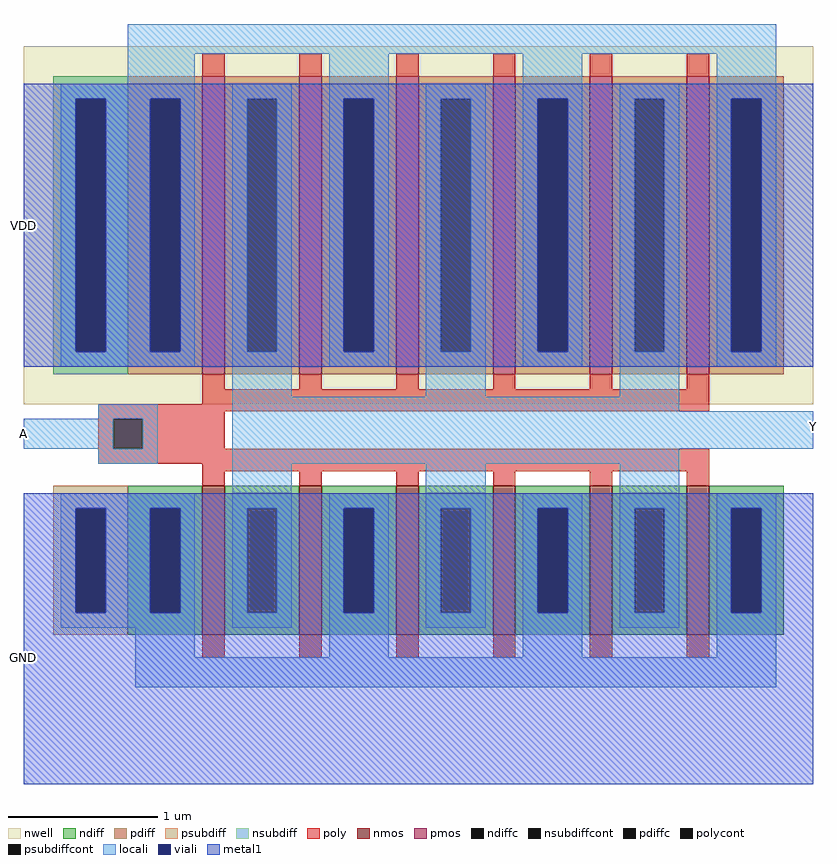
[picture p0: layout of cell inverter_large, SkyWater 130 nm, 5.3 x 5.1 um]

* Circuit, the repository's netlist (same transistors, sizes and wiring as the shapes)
* NGSPICE file created from /home/madvlsi/Documents/MADVLSI-Final_Project/layout/inverter_large.ext - technology: sky130A


* Top level circuit /home/madvlsi/Documents/MADVLSI-Final_Project/layout/inverter_large

X0 Y A GND GND sky130_fd_pr__nfet_01v8 ad=1.5e+12p pd=9e+06u as=2e+12p ps=1.2e+07u w=1e+06u l=150000u
X1 GND A Y GND sky130_fd_pr__nfet_01v8 ad=0p pd=0u as=0p ps=0u w=1e+06u l=150000u
X2 Y A GND GND sky130_fd_pr__nfet_01v8 ad=0p pd=0u as=0p ps=0u w=1e+06u l=150000u
X3 VDD A Y VDD sky130_fd_pr__pfet_01v8 ad=4e+12p pd=2e+07u as=3e+12p ps=1.5e+07u w=2e+06u l=150000u
X4 GND A Y GND sky130_fd_pr__nfet_01v8 ad=0p pd=0u as=0p ps=0u w=1e+06u l=150000u
X5 Y A VDD VDD sky130_fd_pr__pfet_01v8 ad=0p pd=0u as=0p ps=0u w=2e+06u l=150000u
X6 Y A GND GND sky130_fd_pr__nfet_01v8 ad=0p pd=0u as=0p ps=0u w=1e+06u l=150000u
X7 Y A VDD VDD sky130_fd_pr__pfet_01v8 ad=0p pd=0u as=0p ps=0u w=2e+06u l=150000u
X8 Y A VDD VDD sky130_fd_pr__pfet_01v8 ad=0p pd=0u as=0p ps=0u w=2e+06u l=150000u
X9 VDD A Y VDD sky130_fd_pr__pfet_01v8 ad=0p pd=0u as=0p ps=0u w=2e+06u l=150000u
X10 VDD A Y VDD sky130_fd_pr__pfet_01v8 ad=0p pd=0u as=0p ps=0u w=2e+06u l=150000u
X11 GND A Y GND sky130_fd_pr__nfet_01v8 ad=0p pd=0u as=0p ps=0u w=1e+06u l=150000u
.end

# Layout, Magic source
magic
tech sky130A
<< nwell >>
rect -120 155 410 395
<< nmos >>
rect 0 0 15 100
rect 65 0 80 100
rect 130 0 145 100
rect 195 0 210 100
rect 260 0 275 100
rect 325 0 340 100
<< pmos >>
rect 0 175 15 375
rect 65 175 80 375
rect 130 175 145 375
rect 195 175 210 375
rect 260 175 275 375
rect 325 175 340 375
<< ndiff >>
rect -50 85 0 100
rect -50 15 -35 85
rect -15 15 0 85
rect -50 0 0 15
rect 15 85 65 100
rect 15 15 30 85
rect 50 15 65 85
rect 15 0 65 15
rect 80 85 130 100
rect 80 15 95 85
rect 115 15 130 85
rect 80 0 130 15
rect 145 85 195 100
rect 145 15 160 85
rect 180 15 195 85
rect 145 0 195 15
rect 210 85 260 100
rect 210 15 225 85
rect 245 15 260 85
rect 210 0 260 15
rect 275 85 325 100
rect 275 15 290 85
rect 310 15 325 85
rect 275 0 325 15
rect 340 85 390 100
rect 340 15 355 85
rect 375 15 390 85
rect 340 0 390 15
<< pdiff >>
rect -50 360 0 375
rect -50 190 -35 360
rect -15 190 0 360
rect -50 175 0 190
rect 15 360 65 375
rect 15 190 30 360
rect 50 190 65 360
rect 15 175 65 190
rect 80 360 130 375
rect 80 190 95 360
rect 115 190 130 360
rect 80 175 130 190
rect 145 360 195 375
rect 145 190 160 360
rect 180 190 195 360
rect 145 175 195 190
rect 210 360 260 375
rect 210 190 225 360
rect 245 190 260 360
rect 210 175 260 190
rect 275 360 325 375
rect 275 190 290 360
rect 310 190 325 360
rect 275 175 325 190
rect 340 360 390 375
rect 340 190 355 360
rect 375 190 390 360
rect 340 175 390 190
<< ndiffc >>
rect -35 15 -15 85
rect 30 15 50 85
rect 95 15 115 85
rect 160 15 180 85
rect 225 15 245 85
rect 290 15 310 85
rect 355 15 375 85
<< pdiffc >>
rect -35 190 -15 360
rect 30 190 50 360
rect 95 190 115 360
rect 160 190 180 360
rect 225 190 245 360
rect 290 190 310 360
rect 355 190 375 360
<< psubdiff >>
rect -100 85 -50 100
rect -100 15 -85 85
rect -65 15 -50 85
rect -100 0 -50 15
<< nsubdiff >>
rect -100 360 -50 375
rect -100 190 -85 360
rect -65 190 -50 360
rect -100 175 -50 190
<< psubdiffcont >>
rect -85 15 -65 85
<< nsubdiffcont >>
rect -85 190 -65 360
<< poly >>
rect 0 375 15 390
rect 65 375 80 390
rect 130 375 145 390
rect 195 375 210 390
rect 260 375 275 390
rect 325 375 340 390
rect 0 165 15 175
rect 65 165 80 175
rect 130 165 145 175
rect 195 165 210 175
rect 260 165 275 175
rect 325 165 340 175
rect 0 155 340 165
rect -70 150 340 155
rect -70 145 15 150
rect -70 125 -60 145
rect -40 125 15 145
rect -70 115 340 125
rect 0 110 340 115
rect 0 100 15 110
rect 65 100 80 110
rect 130 100 145 110
rect 195 100 210 110
rect 260 100 275 110
rect 325 100 340 110
rect 0 -15 15 0
rect 65 -15 80 0
rect 130 -15 145 0
rect 195 -15 210 0
rect 260 -15 275 0
rect 325 -15 340 0
<< polycont >>
rect -60 125 -40 145
<< locali >>
rect -50 390 385 410
rect -50 370 -5 390
rect -95 360 -5 370
rect -95 190 -85 360
rect -65 190 -35 360
rect -15 190 -5 360
rect -95 180 -5 190
rect 20 360 60 370
rect 20 190 30 360
rect 50 190 60 360
rect 20 160 60 190
rect 85 360 125 390
rect 85 190 95 360
rect 115 190 125 360
rect 85 180 125 190
rect 150 360 190 370
rect 150 190 160 360
rect 180 190 190 360
rect 150 160 190 190
rect 215 360 255 390
rect 215 190 225 360
rect 245 190 255 360
rect 215 180 255 190
rect 280 360 320 370
rect 280 190 290 360
rect 310 190 320 360
rect 280 160 320 190
rect 345 360 385 390
rect 345 190 355 360
rect 375 190 385 360
rect 345 180 385 190
rect -70 145 -30 155
rect -120 125 -60 145
rect -40 125 -30 145
rect -70 115 -30 125
rect 20 150 320 160
rect 20 125 410 150
rect 20 115 320 125
rect -95 85 -5 95
rect -95 15 -85 85
rect -65 15 -35 85
rect -15 15 -5 85
rect -95 5 -5 15
rect 20 85 60 115
rect 20 15 30 85
rect 50 15 60 85
rect 20 5 60 15
rect 85 85 125 95
rect 85 15 95 85
rect 115 15 125 85
rect -45 -15 -5 5
rect 85 -15 125 15
rect 150 85 190 115
rect 150 15 160 85
rect 180 15 190 85
rect 150 5 190 15
rect 215 85 255 95
rect 215 15 225 85
rect 245 15 255 85
rect 215 -15 255 15
rect 280 85 320 115
rect 280 15 290 85
rect 310 15 320 85
rect 280 5 320 15
rect 345 85 385 95
rect 345 15 355 85
rect 375 15 385 85
rect 345 -15 385 15
rect -45 -35 385 -15
<< viali >>
rect -85 190 -65 360
rect -35 190 -15 360
rect 95 190 115 360
rect 225 190 245 360
rect 355 190 375 360
rect -85 15 -65 85
rect -35 15 -15 85
rect 95 15 115 85
rect 225 15 245 85
rect 355 15 375 85
<< metal1 >>
rect -120 360 410 370
rect -120 190 -85 360
rect -65 190 -35 360
rect -15 190 95 360
rect 115 190 225 360
rect 245 190 355 360
rect 375 190 410 360
rect -120 180 410 190
rect -120 85 410 95
rect -120 15 -85 85
rect -65 15 -35 85
rect -15 15 95 85
rect 115 15 225 85
rect 245 15 355 85
rect 375 15 410 85
rect -120 -100 410 15
<< labels >>
rlabel metal1 -120 275 -120 275 7 VDD
port 1 w
rlabel metal1 -120 -15 -120 -15 7 GND
port 2 w
rlabel locali -120 135 -120 135 7 A
port 3 w
rlabel locali 410 140 410 140 3 Y
port 4 e
<< end >>
